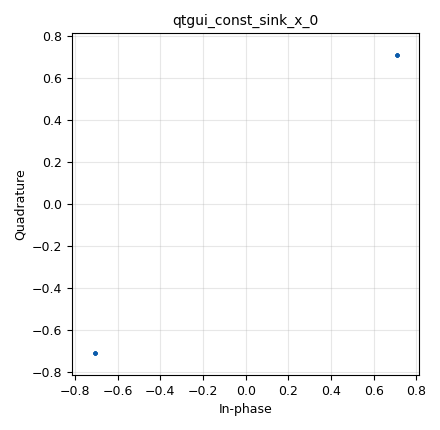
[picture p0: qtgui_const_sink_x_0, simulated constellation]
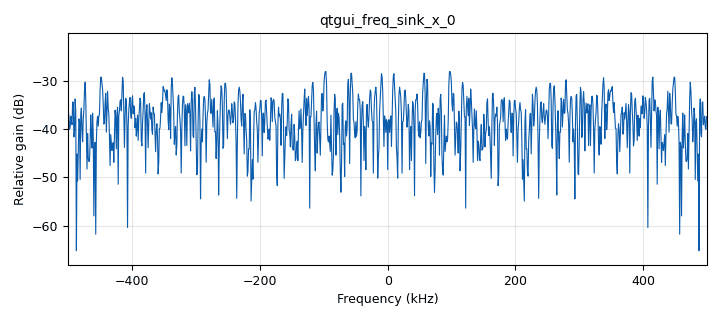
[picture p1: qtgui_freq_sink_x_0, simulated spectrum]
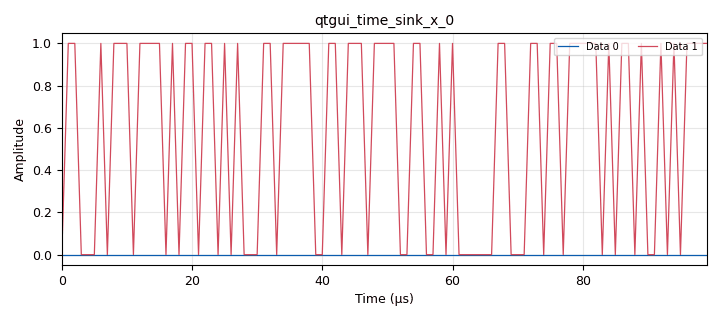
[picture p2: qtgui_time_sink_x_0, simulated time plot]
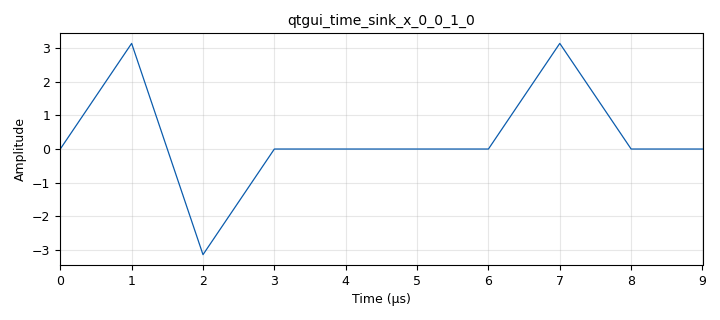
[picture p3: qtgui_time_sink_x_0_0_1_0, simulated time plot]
<?xml version='1.0' encoding='utf-8'?>
<?grc format='1' created='3.7.10'?>
<flow_graph>
<block>
<key>options</key>
<param><key>id</key><value>top_block</value></param>
<param><key>category</key><value>Custom</value></param>
<param><key>generate_options</key><value>qt_gui</value></param>
</block>
<block>
<key>variable</key>
<param><key>id</key><value>samp_rate</value></param>
<param><key>value</key><value>1e6</value></param>
</block>
<block>
<key>variable_constellation</key>
<param><key>id</key><value>variable_constellation_0</value></param>
<param><key>const_points</key><value>[0, math.pi]</value></param>
<param><key>dims</key><value>1</value></param>
<param><key>rot_sym</key><value>4</value></param>
<param><key>precision</key><value>8</value></param>
<param><key>sym_map</key><value>[0, 1]</value></param>
</block>
<block>
<key>analog_random_source_x</key>
<param><key>id</key><value>analog_random_source_x_0</value></param>
<param><key>max</key><value>2</value></param>
<param><key>min</key><value>0</value></param>
<param><key>num_samps</key><value>10000</value></param>
<param><key>type</key><value>byte</value></param>
<param><key>repeat</key><value>True</value></param>
</block>
<block>
<key>blocks_char_to_float</key>
<param><key>id</key><value>blocks_char_to_float_0</value></param>
<param><key>scale</key><value>1</value></param>
</block>
<block>
<key>blocks_char_to_float</key>
<param><key>id</key><value>blocks_char_to_float_0_0</value></param>
<param><key>scale</key><value>1</value></param>
</block>
<block>
<key>blocks_char_to_float</key>
<param><key>id</key><value>blocks_char_to_float_0_1</value></param>
<param><key>_enabled</key><value>0</value></param>
<param><key>scale</key><value>1</value></param>
</block>
<block>
<key>blocks_char_to_float</key>
<param><key>id</key><value>blocks_char_to_float_0_1_0</value></param>
<param><key>_enabled</key><value>0</value></param>
<param><key>scale</key><value>1</value></param>
</block>
<block>
<key>blocks_char_to_float</key>
<param><key>id</key><value>blocks_char_to_float_0_1_0_0</value></param>
<param><key>_enabled</key><value>0</value></param>
<param><key>scale</key><value>1</value></param>
</block>
<block>
<key>blocks_complex_to_magphase</key>
<param><key>id</key><value>blocks_complex_to_magphase_0</value></param>
</block>
<block>
<key>blocks_delay</key>
<param><key>id</key><value>blocks_delay_0</value></param>
<param><key>delay</key><value>1</value></param>
<param><key>type</key><value>byte</value></param>
</block>
<block>
<key>blocks_delay</key>
<param><key>id</key><value>blocks_delay_1</value></param>
<param><key>delay</key><value>1</value></param>
<param><key>type</key><value>float</value></param>
</block>
<block>
<key>blocks_magphase_to_complex</key>
<param><key>id</key><value>blocks_magphase_to_complex_0</value></param>
</block>
<block>
<key>blocks_sub_xx</key>
<param><key>id</key><value>blocks_sub_xx_0</value></param>
<param><key>type</key><value>float</value></param>
</block>
<block>
<key>blocks_xor_xx</key>
<param><key>id</key><value>blocks_xor_xx_0</value></param>
<param><key>type</key><value>byte</value></param>
</block>
<block>
<key>digital_chunks_to_symbols_xx</key>
<param><key>id</key><value>digital_chunks_to_symbols_xx_0</value></param>
<param><key>dimension</key><value>1</value></param>
<param><key>in_type</key><value>byte</value></param>
<param><key>out_type</key><value>complex</value></param>
<param><key>symbol_table</key><value>(1+1j)/math.sqrt(2),-(1+1j)/math.sqrt(2)</value></param>
</block>
<block>
<key>digital_constellation_decoder_cb</key>
<param><key>id</key><value>digital_constellation_decoder_cb_0</value></param>
<param><key>constellation</key><value>variable_constellation_0</value></param>
</block>
<block>
<key>import</key>
<param><key>id</key><value>import_0</value></param>
<param><key>import</key><value>import math</value></param>
</block>
<block>
<key>qtgui_const_sink_x</key>
<param><key>id</key><value>qtgui_const_sink_x_0</value></param>
<param><key>autoscale</key><value>True</value></param>
<param><key>grid</key><value>True</value></param>
<param><key>size</key><value>100</value></param>
<param><key>type</key><value>complex</value></param>
</block>
<block>
<key>qtgui_freq_sink_x</key>
<param><key>id</key><value>qtgui_freq_sink_x_0</value></param>
<param><key>autoscale</key><value>True</value></param>
<param><key>bw</key><value>samp_rate</value></param>
<param><key>fc</key><value>0</value></param>
<param><key>fftsize</key><value>1024</value></param>
<param><key>grid</key><value>True</value></param>
<param><key>showports</key><value>True</value></param>
<param><key>type</key><value>complex</value></param>
<param><key>wintype</key><value>firdes.WIN_BLACKMAN_hARRIS</value></param>
</block>
<block>
<key>qtgui_time_sink_x</key>
<param><key>id</key><value>qtgui_time_sink_x_0</value></param>
<param><key>autoscale</key><value>True</value></param>
<param><key>grid</key><value>True</value></param>
<param><key>color1</key><value>"blue"</value></param>
<param><key>label1</key><value></value></param>
<param><key>color2</key><value>"red"</value></param>
<param><key>label2</key><value></value></param>
<param><key>nconnections</key><value>2</value></param>
<param><key>size</key><value>100</value></param>
<param><key>srate</key><value>samp_rate</value></param>
<param><key>type</key><value>float</value></param>
<param><key>update_time</key><value>10</value></param>
</block>
<block>
<key>qtgui_time_sink_x</key>
<param><key>id</key><value>qtgui_time_sink_x_0_0</value></param>
<param><key>autoscale</key><value>True</value></param>
<param><key>_enabled</key><value>0</value></param>
<param><key>grid</key><value>True</value></param>
<param><key>color1</key><value>"blue"</value></param>
<param><key>label1</key><value></value></param>
<param><key>size</key><value>10</value></param>
<param><key>srate</key><value>samp_rate</value></param>
<param><key>type</key><value>float</value></param>
<param><key>update_time</key><value>10</value></param>
</block>
<block>
<key>qtgui_time_sink_x</key>
<param><key>id</key><value>qtgui_time_sink_x_0_0_0</value></param>
<param><key>autoscale</key><value>True</value></param>
<param><key>_enabled</key><value>0</value></param>
<param><key>grid</key><value>True</value></param>
<param><key>color1</key><value>"blue"</value></param>
<param><key>label1</key><value></value></param>
<param><key>size</key><value>10</value></param>
<param><key>srate</key><value>samp_rate</value></param>
<param><key>type</key><value>float</value></param>
<param><key>update_time</key><value>10</value></param>
</block>
<block>
<key>qtgui_time_sink_x</key>
<param><key>id</key><value>qtgui_time_sink_x_0_0_1</value></param>
<param><key>autoscale</key><value>True</value></param>
<param><key>_enabled</key><value>0</value></param>
<param><key>grid</key><value>True</value></param>
<param><key>color1</key><value>"blue"</value></param>
<param><key>label1</key><value></value></param>
<param><key>size</key><value>10</value></param>
<param><key>srate</key><value>samp_rate</value></param>
<param><key>type</key><value>float</value></param>
<param><key>update_time</key><value>10</value></param>
</block>
<block>
<key>qtgui_time_sink_x</key>
<param><key>id</key><value>qtgui_time_sink_x_0_0_1_0</value></param>
<param><key>autoscale</key><value>True</value></param>
<param><key>grid</key><value>True</value></param>
<param><key>color1</key><value>"blue"</value></param>
<param><key>label1</key><value></value></param>
<param><key>size</key><value>10</value></param>
<param><key>srate</key><value>samp_rate</value></param>
<param><key>type</key><value>float</value></param>
<param><key>update_time</key><value>.10</value></param>
</block>
<connection><source_block_id>analog_random_source_x_0</source_block_id><sink_block_id>blocks_char_to_float_0</sink_block_id><source_key>0</source_key><sink_key>0</sink_key></connection>
<connection><source_block_id>analog_random_source_x_0</source_block_id><sink_block_id>blocks_char_to_float_0_1</sink_block_id><source_key>0</source_key><sink_key>0</sink_key></connection>
<connection><source_block_id>analog_random_source_x_0</source_block_id><sink_block_id>blocks_delay_0</sink_block_id><source_key>0</source_key><sink_key>0</sink_key></connection>
<connection><source_block_id>analog_random_source_x_0</source_block_id><sink_block_id>blocks_xor_xx_0</sink_block_id><source_key>0</source_key><sink_key>0</sink_key></connection>
<connection><source_block_id>blocks_char_to_float_0</source_block_id><sink_block_id>qtgui_time_sink_x_0</sink_block_id><source_key>0</source_key><sink_key>1</sink_key></connection>
<connection><source_block_id>blocks_char_to_float_0_0</source_block_id><sink_block_id>qtgui_time_sink_x_0</sink_block_id><source_key>0</source_key><sink_key>0</sink_key></connection>
<connection><source_block_id>blocks_char_to_float_0_1</source_block_id><sink_block_id>qtgui_time_sink_x_0_0</sink_block_id><source_key>0</source_key><sink_key>0</sink_key></connection>
<connection><source_block_id>blocks_char_to_float_0_1_0</source_block_id><sink_block_id>qtgui_time_sink_x_0_0_0</sink_block_id><source_key>0</source_key><sink_key>0</sink_key></connection>
<connection><source_block_id>blocks_char_to_float_0_1_0_0</source_block_id><sink_block_id>qtgui_time_sink_x_0_0_1</sink_block_id><source_key>0</source_key><sink_key>0</sink_key></connection>
<connection><source_block_id>blocks_complex_to_magphase_0</source_block_id><sink_block_id>blocks_magphase_to_complex_0</sink_block_id><source_key>0</source_key><sink_key>0</sink_key></connection>
<connection><source_block_id>blocks_complex_to_magphase_0</source_block_id><sink_block_id>blocks_delay_1</sink_block_id><source_key>1</source_key><sink_key>0</sink_key></connection>
<connection><source_block_id>blocks_complex_to_magphase_0</source_block_id><sink_block_id>blocks_sub_xx_0</sink_block_id><source_key>1</source_key><sink_key>0</sink_key></connection>
<connection><source_block_id>blocks_delay_0</source_block_id><sink_block_id>blocks_char_to_float_0_1_0</sink_block_id><source_key>0</source_key><sink_key>0</sink_key></connection>
<connection><source_block_id>blocks_delay_0</source_block_id><sink_block_id>blocks_xor_xx_0</sink_block_id><source_key>0</source_key><sink_key>1</sink_key></connection>
<connection><source_block_id>blocks_delay_1</source_block_id><sink_block_id>blocks_sub_xx_0</sink_block_id><source_key>0</source_key><sink_key>1</sink_key></connection>
<connection><source_block_id>blocks_magphase_to_complex_0</source_block_id><sink_block_id>digital_constellation_decoder_cb_0</sink_block_id><source_key>0</source_key><sink_key>0</sink_key></connection>
<connection><source_block_id>blocks_sub_xx_0</source_block_id><sink_block_id>blocks_magphase_to_complex_0</sink_block_id><source_key>0</source_key><sink_key>1</sink_key></connection>
<connection><source_block_id>blocks_sub_xx_0</source_block_id><sink_block_id>qtgui_time_sink_x_0_0_1_0</sink_block_id><source_key>0</source_key><sink_key>0</sink_key></connection>
<connection><source_block_id>blocks_xor_xx_0</source_block_id><sink_block_id>blocks_char_to_float_0_1_0_0</sink_block_id><source_key>0</source_key><sink_key>0</sink_key></connection>
<connection><source_block_id>blocks_xor_xx_0</source_block_id><sink_block_id>digital_chunks_to_symbols_xx_0</sink_block_id><source_key>0</source_key><sink_key>0</sink_key></connection>
<connection><source_block_id>digital_chunks_to_symbols_xx_0</source_block_id><sink_block_id>blocks_complex_to_magphase_0</sink_block_id><source_key>0</source_key><sink_key>0</sink_key></connection>
<connection><source_block_id>digital_chunks_to_symbols_xx_0</source_block_id><sink_block_id>qtgui_const_sink_x_0</sink_block_id><source_key>0</source_key><sink_key>0</sink_key></connection>
<connection><source_block_id>digital_chunks_to_symbols_xx_0</source_block_id><sink_block_id>qtgui_freq_sink_x_0</sink_block_id><source_key>0</source_key><sink_key>0</sink_key></connection>
<connection><source_block_id>digital_constellation_decoder_cb_0</source_block_id><sink_block_id>blocks_char_to_float_0_0</sink_block_id><source_key>0</source_key><sink_key>0</sink_key></connection>
</flow_graph>
